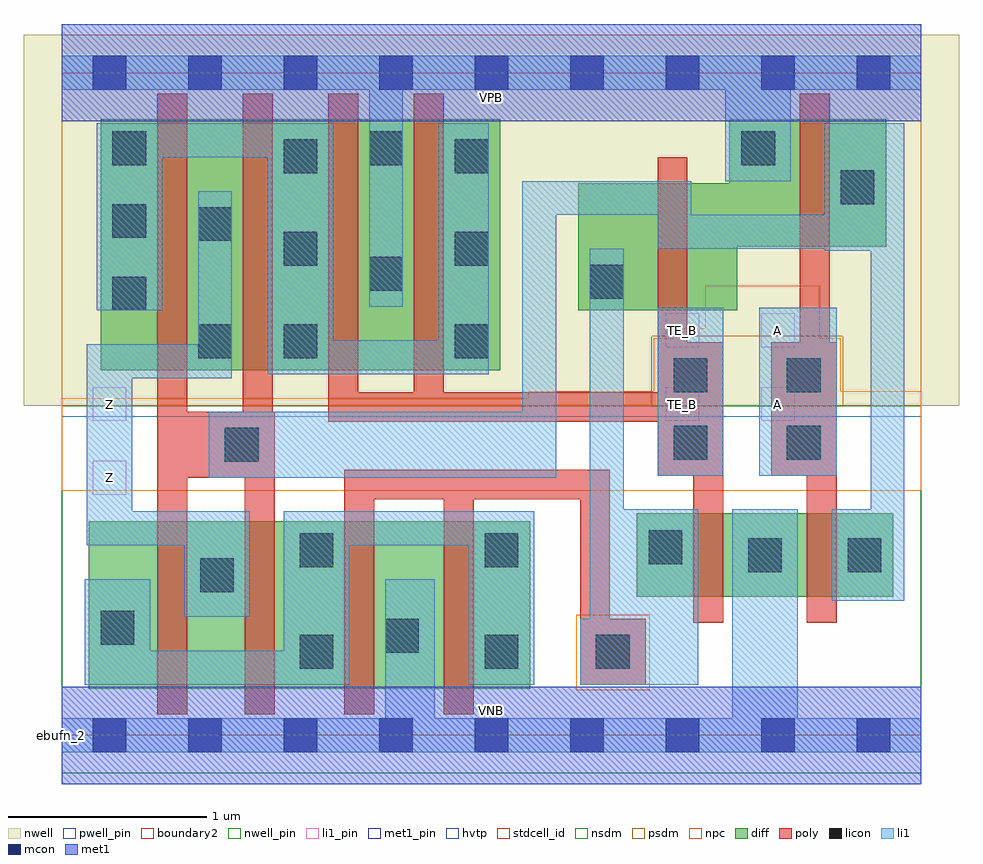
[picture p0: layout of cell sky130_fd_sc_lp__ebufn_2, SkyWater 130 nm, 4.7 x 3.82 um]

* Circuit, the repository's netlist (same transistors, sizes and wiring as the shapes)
* Copyright 2020 The SkyWater PDK Authors
*
* Licensed under the Apache License, Version 2.0 (the "License");
* you may not use this file except in compliance with the License.
* You may obtain a copy of the License at
*
*     https://www.apache.org/licenses/LICENSE-2.0
*
* Unless required by applicable law or agreed to in writing, software
* distributed under the License is distributed on an "AS IS" BASIS,
* WITHOUT WARRANTIES OR CONDITIONS OF ANY KIND, either express or implied.
* See the License for the specific language governing permissions and
* limitations under the License.
*
* SPDX-License-Identifier: Apache-2.0

.SUBCKT sky130_fd_sc_lp__ebufn_2 A TE_B VGND VNB VPB VPWR Z
*.PININFO A:I TE_B:I VGND:I VNB:I VPB:I VPWR:I Z:O
MMN0 Z net39 sndA VNB sky130_fd_pr__nfet_01v8 m=2 w=0.84U l=0.15U mult=1 sa=0.265
+ sb=0.265 sd=0.28 area=0.063 perim=1.14
MMN1 sndA net43 VGND VNB sky130_fd_pr__nfet_01v8 m=2 w=0.84U l=0.15U mult=1 sa=0.265
+ sb=0.265 sd=0.28 area=0.063 perim=1.14
MMIN1 net43 TE_B VGND VNB sky130_fd_pr__nfet_01v8 m=1 w=0.42U l=0.15U mult=1 sa=0.265
+ sb=0.265 sd=0.28 area=0.063 perim=1.14
MI6 net39 A VGND VNB sky130_fd_pr__nfet_01v8 m=1 w=0.42U l=0.15U mult=1 sa=0.265
+ sb=0.265 sd=0.28 area=0.063 perim=1.14
MMP0 VPWR TE_B sndTEB VPB sky130_fd_pr__pfet_01v8_hvt m=2 w=1.26U l=0.15U mult=1
+ sa=0.265 sb=0.265 sd=0.28 area=0.063 perim=1.14
MMP1 sndTEB net39 Z VPB sky130_fd_pr__pfet_01v8_hvt m=2 w=1.26U l=0.15U mult=1
+ sa=0.265 sb=0.265 sd=0.28 area=0.063 perim=1.14
MMIP1 net43 TE_B VPWR VPB sky130_fd_pr__pfet_01v8_hvt m=1 w=0.64U l=0.15U mult=1
+ sa=0.265 sb=0.265 sd=0.28 area=0.063 perim=1.14
MI5 net39 A VPWR VPB sky130_fd_pr__pfet_01v8_hvt m=1 w=0.64U l=0.15U mult=1 sa=0.265
+ sb=0.265 sd=0.28 area=0.063 perim=1.14
.ENDS sky130_fd_sc_lp__ebufn_2

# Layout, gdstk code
import gdstk
lib = gdstk.Library(unit=1e-6, precision=1e-09)
def R(c, l, rs):  # rectangles x0, y0, x1, y1
    for r in rs: c.add(gdstk.rectangle(r[:2], r[2:], *l))
def A(c, l, x, y, w, h, nx, ny, dx, dy):  # array of equal rectangles
    R(c, l, [(x+i*dx, y+j*dy, x+i*dx+w, y+j*dy+h) for i in range(nx) for j in range(ny)])
def P(c, l, *ps):  # polygons
    for p in ps: c.add(gdstk.Polygon(p, *l))
nwell_pin = (64, 16)
nwell = (64, 20)
diff = (65, 20)
poly = (66, 20)
licon = (66, 44)
li1_pin = (67, 16)
li1 = (67, 20)
mcon = (67, 44)
met1_pin = (68, 16)
met1 = (68, 20)
hvtp = (78, 44)
stdcell_id = (81, 4)
nsdm = (93, 44)
psdm = (94, 20)
npc = (95, 20)
pwell_pin = (122, 16)
boundary2 = (236, 0)

sky130_fd_sc_lp__ebufn_2 = lib.new_cell('sky130_fd_sc_lp__ebufn_2')
R(sky130_fd_sc_lp__ebufn_2, nwell_pin, [(0,3.085,4.32,3.33)])
R(sky130_fd_sc_lp__ebufn_2, nwell, [(-0.19,1.655,4.51,3.52)])
R(sky130_fd_sc_lp__ebufn_2, diff, [(0.135,0.235,2.355,1.075), (2.89,0.695,4.18,1.115), (0.195,1.835,2.205,3.095)])
P(sky130_fd_sc_lp__ebufn_2, diff, [(4.145,3.095),(3.355,3.095),(3.355,2.775),(2.595,2.775),(2.595,2.135),(3.395,2.135),(3.395,2.455),(4.145,2.455)])
P(sky130_fd_sc_lp__ebufn_2, poly, [(1.07,1.625),(1.06,1.625),(1.06,3.225),(0.91,3.225),(0.91,1.625),(0.63,1.625),(0.63,3.225),(0.48,3.225),(0.48,0.105),(0.63,0.105),(0.63,1.295),(0.92,1.295),(0.92,0.105),(1.07,0.105)],
  [(2.935,0.585),(2.755,0.585),(2.755,1.335),(1.42,1.335),(1.42,0.105),(1.57,0.105),(1.57,1.185),(1.92,1.185),(1.92,0.105),(2.07,0.105),(2.07,1.185),(2.605,1.185),(2.605,0.255),(2.935,0.255)],
  [(3.325,1.975),(3.145,1.975),(3.145,2.905),(2.995,2.905),(2.995,1.725),(1.92,1.725),(1.92,3.225),(1.77,3.225),(1.77,1.725),(1.49,1.725),(1.49,3.225),(1.34,3.225),(1.34,1.575),(2.995,1.575),(2.995,1.305),(3.175,1.305),(3.175,0.565),(3.325,0.565)],
  [(3.895,1.975),(3.86,1.975),(3.86,3.225),(3.71,3.225),(3.71,1.975),(3.565,1.975),(3.565,1.305),(3.745,1.305),(3.745,0.565),(3.895,0.565)])
A(sky130_fd_sc_lp__ebufn_2, licon, 1.115, 1.895, 0.17, 0.17, 1, 3, 0, 0.465)
A(sky130_fd_sc_lp__ebufn_2, licon, 1.975, 1.895, 0.17, 0.17, 1, 3, 0, 0.465)
A(sky130_fd_sc_lp__ebufn_2, licon, 0.255, 2.135, 0.17, 0.17, 1, 3, 0, 0.365)
R(sky130_fd_sc_lp__ebufn_2, licon, [(1.195,0.335,1.365,0.505), (2.125,0.335,2.295,0.505), (2.685,0.335,2.855,0.505), (1.625,0.415,1.795,0.585), (0.195,0.455,0.365,0.625), (0.695,0.72,0.865,0.89), (3.45,0.82,3.62,0.99), (3.95,0.82,4.12,0.99), (1.195,0.845,1.365,1.015), (2.125,0.845,2.295,1.015), (2.95,0.86,3.12,1.03), (0.82,1.375,0.99,1.545), (3.075,1.385,3.245,1.555), (3.645,1.385,3.815,1.555), (3.075,1.725,3.245,1.895), (3.645,1.725,3.815,1.895), (0.685,1.895,0.855,2.065), (2.655,2.195,2.825,2.365), (1.545,2.235,1.715,2.405), (0.685,2.485,0.855,2.655), (3.915,2.67,4.085,2.84), (1.545,2.865,1.715,3.035), (3.415,2.865,3.585,3.035)])
R(sky130_fd_sc_lp__ebufn_2, li1_pin, [(0.155,1.21,0.325,1.38), (0.155,1.58,0.325,1.75), (3.035,1.58,3.205,1.75), (3.515,1.58,3.685,1.75), (3.035,1.95,3.205,2.12), (3.515,1.95,3.685,2.12)])
R(sky130_fd_sc_lp__ebufn_2, li1, [(2.995,1.305,3.325,2.15), (3.505,1.305,3.895,2.15)])
P(sky130_fd_sc_lp__ebufn_2, li1, [(3.335,2.785),(3.335,3.245),(1.715,3.245),(1.715,2.155),(1.545,2.155),(1.545,3.245),(0,3.245),(0,3.415),(4.32,3.415),(4.32,3.245),(3.665,3.245),(3.665,2.785)],
  [(3.37,0.085),(3.37,1.135),(3.7,1.135),(3.7,0.085),(4.32,0.085),(4.32,-0.085),(0,-0.085),(0,0.085),(1.625,0.085),(1.625,0.785),(1.875,0.785),(1.875,0.085)],
  [(0.355,1.125),(0.945,1.125),(0.945,0.595),(0.615,0.595),(0.615,0.955),(0.125,0.955),(0.125,1.965),(0.685,1.965),(0.685,2.735),(0.855,2.735),(0.855,1.795),(0.355,1.795)],
  [(2.655,0.585),(2.655,2.445),(2.825,2.445),(2.825,1.135),(3.2,1.135),(3.2,0.255),(2.605,0.255),(2.605,0.585)],
  [(0.74,1.295),(0.74,1.625),(2.315,1.625),(2.315,2.785),(3.165,2.785),(3.165,2.615),(3.835,2.615),(3.835,3.075),(4.235,3.075),(4.235,0.675),(3.87,0.675),(3.87,1.135),(4.065,1.135),(4.065,2.435),(3.835,2.435),(3.835,2.445),(2.995,2.445),(2.995,2.615),(2.485,2.615),(2.485,1.295)],
  [(2.045,0.255),(2.045,0.955),(1.445,0.955),(1.445,0.255),(0.115,0.255),(0.115,0.785),(0.445,0.785),(0.445,0.425),(1.115,0.425),(1.115,1.125),(2.375,1.125),(2.375,0.255)],
  [(1.895,1.985),(1.895,3.075),(2.145,3.075),(2.145,1.815),(1.035,1.815),(1.035,2.905),(0.505,2.905),(0.505,2.135),(0.175,2.135),(0.175,3.075),(1.365,3.075),(1.365,1.985)])
A(sky130_fd_sc_lp__ebufn_2, mcon, 0.155, -0.085, 0.17, 0.17, 9, 2, 0.48, 3.33)
R(sky130_fd_sc_lp__ebufn_2, met1_pin, [(0,0,4.32,0.245), (0,3.085,4.32,3.33)])
R(sky130_fd_sc_lp__ebufn_2, met1, [(0,-0.245,4.32,0.245), (0,3.085,4.32,3.575)])
R(sky130_fd_sc_lp__ebufn_2, hvtp, [(0,1.6,4.32,3.33)])
R(sky130_fd_sc_lp__ebufn_2, stdcell_id, [(0,0,4.32,3.33)])
R(sky130_fd_sc_lp__ebufn_2, nsdm, [(0,-0.19,4.32,1.655)])
P(sky130_fd_sc_lp__ebufn_2, psdm, [(4.32,3.52),(0,3.52),(0,1.655),(2.965,1.655),(2.965,2.005),(3.925,2.005),(3.925,1.655),(4.32,1.655)])
R(sky130_fd_sc_lp__ebufn_2, npc, [(2.585,0.225,2.955,0.605)])
P(sky130_fd_sc_lp__ebufn_2, npc, [(4.32,1.73),(3.915,1.73),(3.915,1.995),(3.81,1.995),(3.81,2.26),(3.235,2.26),(3.235,2.045),(3.08,2.045),(3.08,1.995),(2.975,1.995),(2.975,1.73),(2.345,1.73),(2.345,1.695),(0,1.695),(0,1.23),(4.32,1.23)])
R(sky130_fd_sc_lp__ebufn_2, pwell_pin, [(0,0,4.32,0.245)])
R(sky130_fd_sc_lp__ebufn_2, boundary2, [(0,0,4.32,3.33)])
sky130_fd_sc_lp__ebufn_2.add(gdstk.Label('VNB', (2.16,0.123), layer=64, texttype=59))
sky130_fd_sc_lp__ebufn_2.add(gdstk.Label('VPB', (2.16,3.208), layer=64, texttype=5))
sky130_fd_sc_lp__ebufn_2.add(gdstk.Label('ebufn_2', (0,0), layer=83, texttype=44))
sky130_fd_sc_lp__ebufn_2.add(gdstk.Label('VPWR', (2.16,3.208), layer=68, texttype=5))
sky130_fd_sc_lp__ebufn_2.add(gdstk.Label('VGND', (2.16,0.123), layer=68, texttype=5))
sky130_fd_sc_lp__ebufn_2.add(gdstk.Label('Z', (0.24,1.295), layer=67, texttype=5))
sky130_fd_sc_lp__ebufn_2.add(gdstk.Label('Z', (0.24,1.665), layer=67, texttype=5))
sky130_fd_sc_lp__ebufn_2.add(gdstk.Label('A', (3.6,1.665), layer=67, texttype=5))
sky130_fd_sc_lp__ebufn_2.add(gdstk.Label('A', (3.6,2.035), layer=67, texttype=5))
sky130_fd_sc_lp__ebufn_2.add(gdstk.Label('TE_B', (3.12,1.665), layer=67, texttype=5))
sky130_fd_sc_lp__ebufn_2.add(gdstk.Label('TE_B', (3.12,2.035), layer=67, texttype=5))

lib.write_gds('sky130_fd_sc_lp__ebufn_2.gds')
